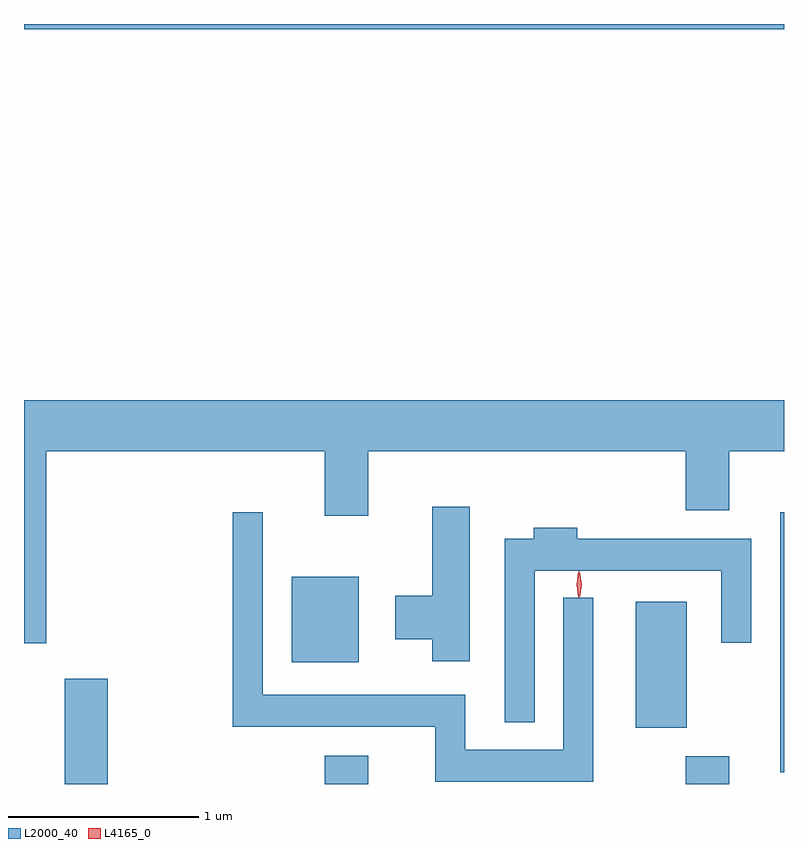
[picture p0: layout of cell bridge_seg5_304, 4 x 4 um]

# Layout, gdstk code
import gdstk
lib = gdstk.Library(unit=1e-6, precision=1e-09)
def R(c, l, rs):  # rectangles x0, y0, x1, y1
    for r in rs: c.add(gdstk.rectangle(r[:2], r[2:], *l))
def P(c, l, *ps):  # polygons
    for p in ps: c.add(gdstk.Polygon(p, *l))
L2000_40 = (2000, 40)
L4165_0 = (4165, 0)

bridge_seg5_304 = lib.new_cell('bridge_seg5_304')
R(bridge_seg5_304, L2000_40, [(696.951,1506.104,697.179,1506.659), (698.321,1506.104,698.549,1506.254), (700.221,1506.104,700.449,1506.249), (700.716,1506.166,700.737,1507.533), (699.956,1506.401,700.224,1507.064), (698.146,1506.746,698.499,1507.194), (696.737,1510.076,700.737,1510.104)])
P(bridge_seg5_304, L2000_40, [(696.854,1507.856),(698.321,1507.856),(698.321,1507.516),(698.549,1507.516),(698.549,1507.856),(700.221,1507.856),(700.221,1507.546),(700.449,1507.546),(700.449,1507.856),(700.737,1507.856),(700.737,1508.124),(696.737,1508.124),(696.737,1506.846),(696.854,1506.846)],
  [(699.084,1507.564),(698.886,1507.564),(698.886,1507.094),(698.691,1507.094),(698.691,1506.866),(698.886,1506.866),(698.886,1506.751),(699.084,1506.751)],
  [(699.734,1507.083),(699.576,1507.083),(699.576,1506.284),(699.059,1506.284),(699.059,1506.574),(697.994,1506.574),(697.994,1507.533),(697.836,1507.533),(697.836,1506.406),(698.901,1506.406),(698.901,1506.116),(699.734,1506.116)],
  [(699.424,1507.226),(700.406,1507.226),(700.406,1506.848),(700.564,1506.848),(700.564,1507.394),(699.649,1507.394),(699.649,1507.454),(699.421,1507.454),(699.421,1507.394),(699.266,1507.394),(699.266,1506.428),(699.424,1506.428)])
P(bridge_seg5_304, L4165_0, [(699.661,1507.083),(699.661,1507.084),(699.652,1507.153),(699.662,1507.222),(699.662,1507.223),(699.663,1507.222),(699.672,1507.153),(699.662,1507.084)],
  [(699.656,1507.087),(699.655,1507.088),(699.646,1507.154),(699.655,1507.22),(699.656,1507.221),(699.656,1507.22),(699.666,1507.154),(699.656,1507.088)])

lib.write_gds('bridge_seg5_304.gds')
